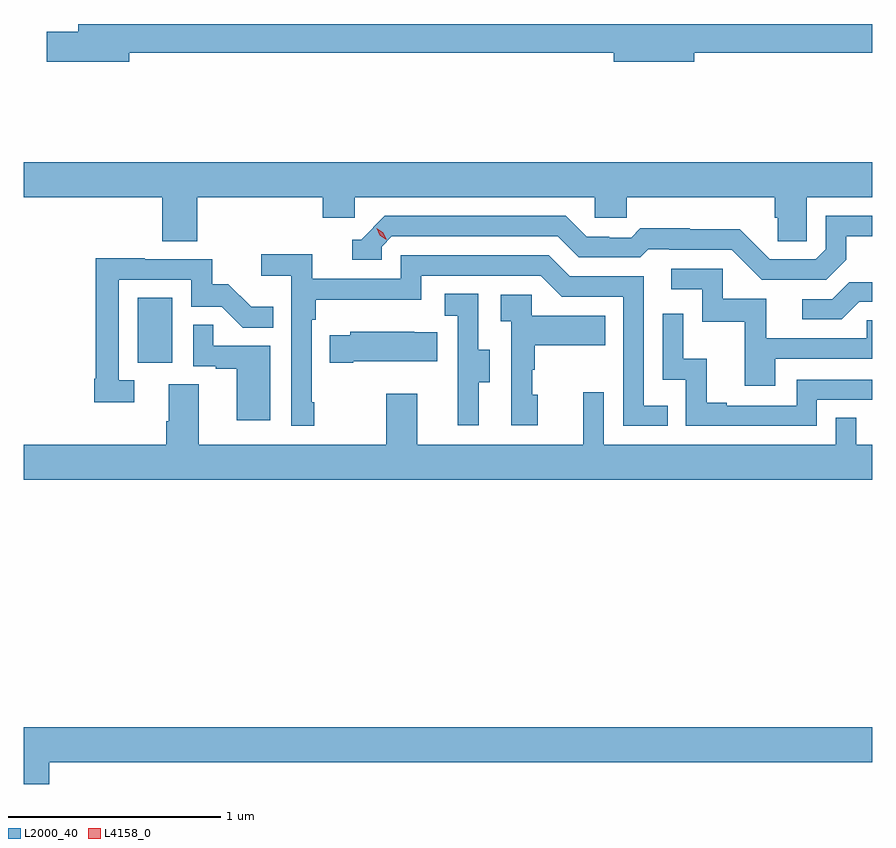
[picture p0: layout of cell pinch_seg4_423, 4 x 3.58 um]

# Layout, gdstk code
import gdstk
lib = gdstk.Library(unit=1e-6, precision=1e-09)
def R(c, l, rs):  # rectangles x0, y0, x1, y1
    for r in rs: c.add(gdstk.rectangle(r[:2], r[2:], *l))
def P(c, l, *ps):  # polygons
    for p in ps: c.add(gdstk.Polygon(p, *l))
L2000_40 = (2000, 40)
L4158_0 = (4158, 0)

pinch_seg4_423 = lib.new_cell('pinch_seg4_423')
R(pinch_seg4_423, L2000_40, [(899.918,772.062,900.082,772.369)])
P(pinch_seg4_423, L2000_40, [(899.878,773.524),(902.162,773.524),(902.162,773.482),(902.542,773.482),(902.542,773.524),(903.381,773.524),(903.381,773.66),(899.639,773.66),(899.639,773.624),(899.49,773.624),(899.49,773.482),(899.878,773.482)],
  [(900.2,772.844),(900.791,772.844),(900.791,772.746),(900.942,772.746),(900.942,772.844),(902.073,772.844),(902.073,772.746),(902.223,772.746),(902.223,772.844),(902.921,772.844),(902.921,772.746),(902.935,772.746),(902.935,772.636),(903.072,772.636),(903.072,772.844),(903.381,772.844),(903.381,773.008),(899.381,773.008),(899.381,772.844),(900.035,772.844),(900.035,772.636),(900.2,772.636)],
  [(903.259,772.549),(903.259,772.659),(903.381,772.659),(903.381,772.755),(903.162,772.755),(903.162,772.599),(903.114,772.551),(902.898,772.551),(902.756,772.693),(902.52,772.693),(902.52,772.696),(902.287,772.696),(902.245,772.653),(902.142,772.653),(902.142,772.656),(902.035,772.656),(901.936,772.755),(901.083,772.755),(900.972,772.644),(900.929,772.644),(900.929,772.548),(901.068,772.548),(901.068,772.611),(901.116,772.659),(901.899,772.659),(901.998,772.56),(902.287,772.56),(902.326,772.599),(902.425,772.599),(902.425,772.596),(902.718,772.596),(902.859,772.455),(903.165,772.455)],
  [(900.751,771.877),(900.738,771.877),(900.738,772.265),(900.758,772.265),(900.758,772.361),(901.254,772.361),(901.254,772.473),(901.818,772.473),(901.917,772.374),(902.208,772.374),(902.208,771.765),(902.417,771.765),(902.417,771.861),(902.304,771.861),(902.304,772.47),(901.954,772.47),(901.855,772.569),(901.158,772.569),(901.158,772.458),(900.74,772.458),(900.74,772.574),(900.501,772.574),(900.501,772.472),(900.642,772.472),(900.642,771.765),(900.751,771.765)],
  [(899.902,771.981),(899.829,771.981),(899.829,772.455),(900.171,772.455),(900.171,772.326),(900.315,772.326),(900.413,772.228),(900.557,772.228),(900.557,772.327),(900.453,772.327),(900.346,772.434),(900.27,772.434),(900.27,772.551),(899.951,772.551),(899.951,772.556),(899.721,772.556),(899.721,771.988),(899.713,771.988),(899.713,771.876),(899.902,771.876)],
  [(902.923,772.083),(903.381,772.083),(903.381,772.263),(903.355,772.263),(903.355,772.179),(902.881,772.179),(902.881,772.365),(902.676,772.365),(902.676,772.506),(902.433,772.506),(902.433,772.41),(902.58,772.41),(902.58,772.257),(902.779,772.257),(902.779,771.954),(902.923,771.954)],
  [(903.319,772.35),(903.381,772.35),(903.381,772.442),(903.272,772.442),(903.192,772.362),(903.051,772.362),(903.051,772.269),(903.238,772.269)],
  [(901.525,771.97),(901.579,771.97),(901.579,772.125),(901.524,772.125),(901.524,772.388),(901.365,772.388),(901.365,772.285),(901.428,772.285),(901.428,771.981),(901.427,771.981),(901.427,771.768),(901.525,771.768)],
  [(901.804,771.912),(901.779,771.912),(901.779,772.031),(901.789,772.031),(901.789,772.145),(902.123,772.145),(902.123,772.285),(901.776,772.285),(901.776,772.383),(901.629,772.383),(901.629,772.259),(901.68,772.259),(901.68,771.768),(901.804,771.768)],
  [(903.12,771.888),(903.381,771.888),(903.381,771.984),(903.024,771.984),(903.024,771.861),(902.695,771.861),(902.695,771.874),(902.6,771.874),(902.6,772.082),(902.49,772.082),(902.49,772.294),(902.394,772.294),(902.394,771.984),(902.502,771.984),(902.502,771.765),(903.12,771.765)],
  [(900.544,772.143),(900.275,772.143),(900.275,772.241),(900.18,772.241),(900.18,772.047),(900.287,772.047),(900.287,772.035),(900.386,772.035),(900.386,771.792),(900.544,771.792)],
  [(900.934,772.07),(901.331,772.07),(901.331,772.207),(901.223,772.207),(901.223,772.21),(900.921,772.21),(900.921,772.192),(900.823,772.192),(900.823,772.063),(900.934,772.063)],
  [(903.381,771.676),(903.306,771.676),(903.306,771.803),(903.21,771.803),(903.21,771.676),(902.115,771.676),(902.115,771.925),(902.018,771.925),(902.018,771.676),(901.237,771.676),(901.237,771.916),(901.09,771.916),(901.09,771.676),(900.205,771.676),(900.205,771.962),(900.065,771.962),(900.065,771.788),(900.053,771.788),(900.053,771.676),(899.381,771.676),(899.381,771.512),(903.381,771.512)],
  [(899.5,770.18),(903.381,770.18),(903.381,770.344),(899.381,770.344),(899.381,770.077),(899.5,770.077)])
P(pinch_seg4_423, L4158_0, [(901.091,772.644),(901.06,772.664),(901.044,772.696),(901.044,772.697),(901.045,772.697),(901.075,772.677),(901.091,772.645),(901.091,772.644)])

lib.write_gds('pinch_seg4_423.gds')
